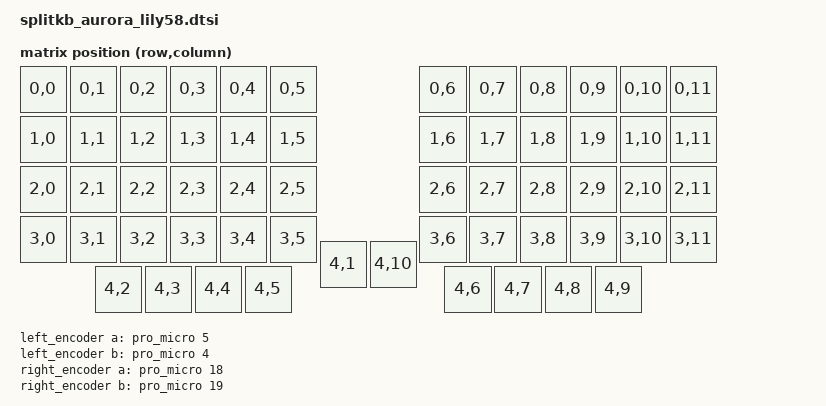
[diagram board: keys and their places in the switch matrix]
/*
 * Copyright (c) 2022 The ZMK Contributors
 *
 * SPDX-License-Identifier: MIT
 */

#include <dt-bindings/zmk/matrix_transform.h>
#include <physical_layouts.dtsi>

/ {
    chosen {
        zmk,physical-layout = &default_layout;
    };

    default_layout: default_layout {
        compatible = "zmk,physical-layout";
        display-name = "Aurora Lily58";
        transform = <&default_transform>;
        keys
            /* Row 0 */
            = <&key_physical_attrs 100 100   0   0 0 0 0> // L00
            , <&key_physical_attrs 100 100 100   0 0 0 0> // L01
            , <&key_physical_attrs 100 100 200   0 0 0 0> // L02
            , <&key_physical_attrs 100 100 300   0 0 0 0> // L03
            , <&key_physical_attrs 100 100 400   0 0 0 0> // L04
            , <&key_physical_attrs 100 100 500   0 0 0 0> // L05
            , <&key_physical_attrs 100 100 800   0 0 0 0> // R00
            , <&key_physical_attrs 100 100 900   0 0 0 0> // R01
            , <&key_physical_attrs 100 100 1000  0 0 0 0> // R02
            , <&key_physical_attrs 100 100 1100  0 0 0 0> // R03
            , <&key_physical_attrs 100 100 1200  0 0 0 0> // R04
            , <&key_physical_attrs 100 100 1300  0 0 0 0> // R05
            /* Row 1 */
            , <&key_physical_attrs 100 100   0 100 0 0 0> // L10
            , <&key_physical_attrs 100 100 100 100 0 0 0> // L11
            , <&key_physical_attrs 100 100 200 100 0 0 0> // L12
            , <&key_physical_attrs 100 100 300 100 0 0 0> // L13
            , <&key_physical_attrs 100 100 400 100 0 0 0> // L14
            , <&key_physical_attrs 100 100 500 100 0 0 0> // L15
            , <&key_physical_attrs 100 100 800 100 0 0 0> // R10
            , <&key_physical_attrs 100 100 900 100 0 0 0> // R11
            , <&key_physical_attrs 100 100 1000 100 0 0 0> // R12
            , <&key_physical_attrs 100 100 1100 100 0 0 0> // R13
            , <&key_physical_attrs 100 100 1200 100 0 0 0> // R14
            , <&key_physical_attrs 100 100 1300 100 0 0 0> // R15
            /* Row 2 */
            , <&key_physical_attrs 100 100   0 200 0 0 0> // L20
            , <&key_physical_attrs 100 100 100 200 0 0 0> // L21
            , <&key_physical_attrs 100 100 200 200 0 0 0> // L22
            , <&key_physical_attrs 100 100 300 200 0 0 0> // L23
            , <&key_physical_attrs 100 100 400 200 0 0 0> // L24
            , <&key_physical_attrs 100 100 500 200 0 0 0> // L25
            , <&key_physical_attrs 100 100 800 200 0 0 0> // R20
            , <&key_physical_attrs 100 100 900 200 0 0 0> // R21
            , <&key_physical_attrs 100 100 1000 200 0 0 0> // R22
            , <&key_physical_attrs 100 100 1100 200 0 0 0> // R23
            , <&key_physical_attrs 100 100 1200 200 0 0 0> // R24
            , <&key_physical_attrs 100 100 1300 200 0 0 0> // R25
            /* Row 3 */
            , <&key_physical_attrs 100 100   0 300 0 0 0> // L30
            , <&key_physical_attrs 100 100 100 300 0 0 0> // L31
            , <&key_physical_attrs 100 100 200 300 0 0 0> // L32
            , <&key_physical_attrs 100 100 300 300 0 0 0> // L33
            , <&key_physical_attrs 100 100 400 300 0 0 0> // L34
            , <&key_physical_attrs 100 100 500 300 0 0 0> // L35
            , <&key_physical_attrs 100 100 600 350 0 0 0> // L36 (Inner Thumb)
            , <&key_physical_attrs 100 100 700 350 0 0 0> // R36 (Inner Thumb)
            , <&key_physical_attrs 100 100 800 300 0 0 0> // R30
            , <&key_physical_attrs 100 100 900 300 0 0 0> // R31
            , <&key_physical_attrs 100 100 1000 300 0 0 0> // R32
            , <&key_physical_attrs 100 100 1100 300 0 0 0> // R33
            , <&key_physical_attrs 100 100 1200 300 0 0 0> // R34
            , <&key_physical_attrs 100 100 1300 300 0 0 0> // R35
            /* Row 4 (Thumbs) */
            , <&key_physical_attrs 100 100 150 400 0 0 0> // T1
            , <&key_physical_attrs 100 100 250 400 0 0 0> // T2
            , <&key_physical_attrs 100 100 350 400 0 0 0> // T3
            , <&key_physical_attrs 100 100 450 400 0 0 0> // T4
            , <&key_physical_attrs 100 100 850 400 0 0 0> // T5
            , <&key_physical_attrs 100 100 950 400 0 0 0> // T6
            , <&key_physical_attrs 100 100 1050 400 0 0 0> // T7
            , <&key_physical_attrs 100 100 1150 400 0 0 0> // T8
            ;
    };

    default_transform: keymap_transform_0 {
        compatible = "zmk,matrix-transform";
        columns = <12>;
        rows = <5>;
        map = <
RC(0,0) RC(0,1) RC(0,2) RC(0,3) RC(0,4) RC(0,5)                 RC(0,6) RC(0,7) RC(0,8) RC(0,9) RC(0,10) RC(0,11)
RC(1,0) RC(1,1) RC(1,2) RC(1,3) RC(1,4) RC(1,5)                 RC(1,6) RC(1,7) RC(1,8) RC(1,9) RC(1,10) RC(1,11)
RC(2,0) RC(2,1) RC(2,2) RC(2,3) RC(2,4) RC(2,5)                 RC(2,6) RC(2,7) RC(2,8) RC(2,9) RC(2,10) RC(2,11)
RC(3,0) RC(3,1) RC(3,2) RC(3,3) RC(3,4) RC(3,5) RC(4,1) RC(4,10) RC(3,6) RC(3,7) RC(3,8) RC(3,9) RC(3,10) RC(3,11)
                        RC(4,2) RC(4,3) RC(4,4) RC(4,5) RC(4,6) RC(4,7) RC(4,8) RC(4,9)
        >;
    };

    left_encoder: left_encoder {
        compatible = "alps,ec11";
        steps = <80>;
        status = "disabled";
        a-gpios = <&pro_micro 5 GPIO_PULL_UP>;
        b-gpios = <&pro_micro 4 GPIO_PULL_UP>;
    };

    right_encoder: right_encoder {
        compatible = "alps,ec11";
        steps = <80>;
        status = "disabled";
        a-gpios = <&pro_micro 18 GPIO_PULL_UP>;
        b-gpios = <&pro_micro 19 GPIO_PULL_UP>;
    };

    sensors: sensors {
        compatible = "zmk,keymap-sensors";
        sensors = <&left_encoder &right_encoder>;
        triggers-per-rotation = <20>;
    };
};

#ifndef IS_DONGLE
/ {
    chosen {
        zephyr,display = &oled;
    };
};

&pro_micro_i2c {
    status = "okay";
    oled: ssd1306@3c {
        compatible = "solomon,ssd1306fb";
        reg = <0x3c>;
        width = <128>;
        height = <32>;
        segment-offset = <0>;
        page-offset = <0>;
        display-offset = <0>;
        multiplex-ratio = <31>;
        segment-remap;
        com-invdir;
        com-sequential;
        inversion-on;
        prechargep = <0x22>;
    };
};
#endif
